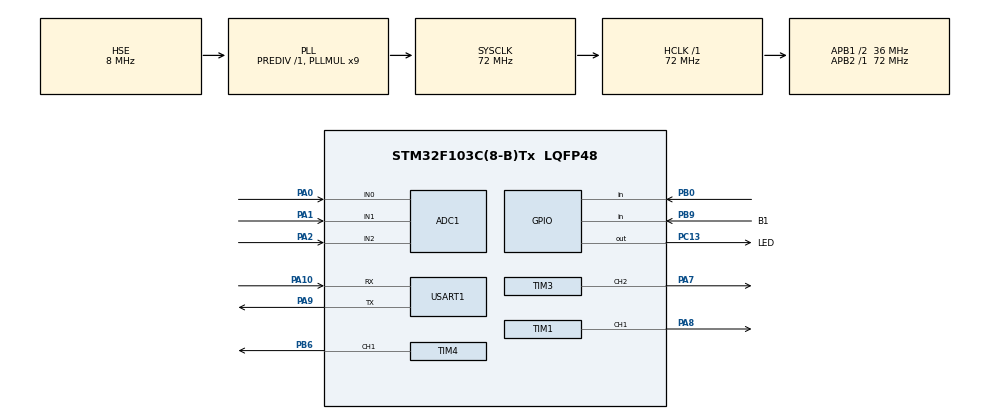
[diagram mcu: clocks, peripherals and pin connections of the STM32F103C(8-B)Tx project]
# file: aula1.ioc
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ADC1.Channel-1\#ChannelRegularConversion=ADC_CHANNEL_0
ADC1.Channel-2\#ChannelRegularConversion=ADC_CHANNEL_1
ADC1.Channel-3\#ChannelRegularConversion=ADC_CHANNEL_2
ADC1.ContinuousConvMode=ENABLE
ADC1.NbrOfConversion=3
ADC1.NbrOfConversionFlag=1
ADC1.Rank-1\#ChannelRegularConversion=1
ADC1.Rank-2\#ChannelRegularConversion=2
ADC1.Rank-3\#ChannelRegularConversion=3
ADC1.SamplingTime-1\#ChannelRegularConversion=ADC_SAMPLETIME_28CYCLES_5
ADC1.SamplingTime-2\#ChannelRegularConversion=ADC_SAMPLETIME_28CYCLES_5
ADC1.SamplingTime-3\#ChannelRegularConversion=ADC_SAMPLETIME_28CYCLES_5
ADC1.master=1
Dma.ADC1.0.Direction=DMA_PERIPH_TO_MEMORY
Dma.ADC1.0.Instance=DMA1_Channel1
Dma.ADC1.0.MemDataAlignment=DMA_MDATAALIGN_WORD
Dma.ADC1.0.MemInc=DMA_MINC_ENABLE
Dma.ADC1.0.Mode=DMA_CIRCULAR
Dma.ADC1.0.PeriphDataAlignment=DMA_PDATAALIGN_WORD
Dma.ADC1.0.PeriphInc=DMA_PINC_DISABLE
Dma.ADC1.0.Priority=DMA_PRIORITY_LOW
Dma.Request0=ADC1
Mcu.Family=STM32F1
Mcu.Name=STM32F103C(8-B)Tx
Mcu.Package=LQFP48
NVIC.DMA1_Channel1_IRQn=true\:0\:0\:false\:false\:true\:false\:true\:true
NVIC.PriorityGroup=NVIC_PRIORITYGROUP_4
NVIC.USART1_IRQn=true\:0\:0\:false\:false\:true\:true\:true\:true
PA0-WKUP.Signal=ADCx_IN0
PA1.Signal=ADCx_IN1
PA10.Mode=Asynchronous
PA10.Signal=USART1_RX
PA13.Mode=Serial_Wire
PA13.Signal=SYS_JTMS-SWDIO
PA14.Mode=Serial_Wire
PA14.Signal=SYS_JTCK-SWCLK
PA2.Signal=ADCx_IN2
PA7.Signal=S_TIM3_CH2
PA8.Signal=S_TIM1_CH1
PA9.Mode=Asynchronous
PA9.Signal=USART1_TX
PB0.Signal=GPIO_Input
PB6.Signal=S_TIM4_CH1
PB9.GPIO_Label=B1
PB9.GPIO_PuPd=GPIO_PULLDOWN
PB9.Signal=GPIO_Input
PC13-TAMPER-RTC.GPIO_Label=LED
PC13-TAMPER-RTC.GPIO_Speed=GPIO_SPEED_FREQ_HIGH
PC13-TAMPER-RTC.Signal=GPIO_Output
PC14-OSC32_IN.Mode=LSE-External-Oscillator
PC14-OSC32_IN.Signal=RCC_OSC32_IN
PC15-OSC32_OUT.Mode=LSE-External-Oscillator
PC15-OSC32_OUT.Signal=RCC_OSC32_OUT
PD0-OSC_IN.Mode=HSE-External-Oscillator
PD0-OSC_IN.Signal=RCC_OSC_IN
PD1-OSC_OUT.Mode=HSE-External-Oscillator
PD1-OSC_OUT.Signal=RCC_OSC_OUT
ProjectManager.HeapSize=0x200
ProjectManager.StackSize=0x400
ProjectManager.TargetToolchain=STM32CubeIDE
RCC.ADCPresc=RCC_ADCPCLK2_DIV6
RCC.AHBFreq_Value=72000000
RCC.APB1CLKDivider=RCC_HCLK_DIV2
RCC.APB1Freq_Value=36000000
RCC.APB1TimFreq_Value=72000000
RCC.APB2Freq_Value=72000000
RCC.APB2TimFreq_Value=72000000
RCC.HCLKFreq_Value=72000000
RCC.PLLMUL=RCC_PLL_MUL9
RCC.PLLSourceVirtual=RCC_PLLSOURCE_HSE
RCC.SYSCLKFreq_VALUE=72000000
RCC.SYSCLKSource=RCC_SYSCLKSOURCE_PLLCLK
RCC.USBFreq_Value=72000000
SH.ADCx_IN0.0=ADC1_IN0,IN0
SH.ADCx_IN1.0=ADC1_IN1,IN1
SH.ADCx_IN2.0=ADC1_IN2,IN2
SH.S_TIM1_CH1.0=TIM1_CH1,PWM Generation1 CH1
SH.S_TIM3_CH2.0=TIM3_CH2,PWM Generation2 CH2
SH.S_TIM4_CH1.0=TIM4_CH1,PWM Generation1 CH1
TIM1.Channel-PWM\ Generation1\ CH1=TIM_CHANNEL_1
TIM1.Period=19999
TIM1.Prescaler=71
TIM1.Pulse-PWM\ Generation1\ CH1=1500
TIM3.Channel-PWM\ Generation2\ CH2=TIM_CHANNEL_2
TIM3.Period=3599
TIM3.Prescaler=0
TIM3.Pulse-PWM\ Generation2\ CH2=0
TIM4.Channel-PWM\ Generation1\ CH1=TIM_CHANNEL_1
USART1.VirtualMode=VM_ASYNC
board=custom

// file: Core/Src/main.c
/* USER CODE BEGIN Header */
/**
  ******************************************************************************
  * @file           : main.c
  * @brief          : Main program body
  ******************************************************************************
  * @attention
  *
  * Copyright (c) 2026 STMicroelectronics.
  * All rights reserved.
  *
  * This software is licensed under terms that can be found in the LICENSE file
  * in the root directory of this software component.
  * If no LICENSE file comes with this software, it is provided AS-IS.
  *
  ******************************************************************************
  */
/* USER CODE END Header */
#include "main.h"
#include "stdio.h"

/* USER CODE BEGIN PD */
static GPIO_PinState sensor_ir_estado;
static GPIO_PinState sensor_ir_candidato;
static uint32_t sensor_ir_mudanca_ms;
static uint8_t sensor_ir_inicializado;
/* USER CODE END PD */

ADC_HandleTypeDef hadc1;
DMA_HandleTypeDef hdma_adc1;

TIM_HandleTypeDef htim1;
TIM_HandleTypeDef htim3;
TIM_HandleTypeDef htim4;

UART_HandleTypeDef huart1;

/* USER CODE BEGIN PV */
int contador;
uint32_t ADT[3];
uint8_t rx_buff[4];

#define TCRT5000_DO_GPIO_Port GPIOB
#define TCRT5000_DO_Pin GPIO_PIN_0
#define TCRT5000_NIVEL_DETECCAO GPIO_PIN_RESET
#define TCRT5000_DEBOUNCE_MS 20U
/* USER CODE END PV */

void SystemClock_Config(void);
static void MX_GPIO_Init(void);
static void MX_DMA_Init(void);
static void MX_TIM1_Init(void);
static void MX_USART1_UART_Init(void);
static void MX_ADC1_Init(void);
static void MX_TIM3_Init(void);
static void MX_TIM4_Init(void);

/* USER CODE BEGIN 0 */
void SensorIR_Atualizar(void)
{
    GPIO_PinState leitura = HAL_GPIO_ReadPin(TCRT5000_DO_GPIO_Port,
                                             TCRT5000_DO_Pin);
    uint32_t agora = HAL_GetTick();

    if (!sensor_ir_inicializado)
    {
        sensor_ir_estado = leitura;
        sensor_ir_candidato = leitura;
        sensor_ir_mudanca_ms = agora;
        sensor_ir_inicializado = 1;
        return;
    }

    if (leitura != sensor_ir_candidato)
    {
        sensor_ir_candidato = leitura;
        sensor_ir_mudanca_ms = agora;
    }

    if (sensor_ir_candidato != sensor_ir_estado &&
        (uint32_t)(agora - sensor_ir_mudanca_ms) >= TCRT5000_DEBOUNCE_MS)
    {
        sensor_ir_estado = sensor_ir_candidato;

        if (sensor_ir_estado == TCRT5000_NIVEL_DETECCAO)
        {
            contador++;
            printf("Passagens: %d\r\n", contador);
        }
    }
}

void AguardarComSensor(uint32_t tempo_ms)
{
    uint32_t inicio = HAL_GetTick();

    while ((uint32_t)(HAL_GetTick() - inicio) < tempo_ms)
    {
        SensorIR_Atualizar();
        HAL_Delay(1);
    }
}

void Motor_SetSpeed(uint8_t velocidade)
{
    if (velocidade > 100)
        velocidade = 100;

    uint32_t periodo =
        __HAL_TIM_GET_AUTORELOAD(&htim3) + 1;

    uint32_t pwm =
        (velocidade * periodo) / 100;

    __HAL_TIM_SET_COMPARE(
        &htim3,
        TIM_CHANNEL_2,
        pwm
    );
}

void Servo_SetAngle(uint16_t valor)
{
    if (valor > 999)
        valor = 999;

    // Converte a escala antiga de 2 us para a nova de 1 us
    uint32_t pulso = (uint32_t)valor * 2;

    __HAL_TIM_SET_COMPARE(&htim1, TIM_CHANNEL_1, pulso);
}

#ifdef __GNUC__
  /* With GCC/RAISONANCE, small printf (option LD Linker->Libraries->Small printf
     set to 'Yes') calls __io_putchar() */
  #define PUTCHAR_PROTOTYPE int __io_putchar(int ch)
#else
  #define PUTCHAR_PROTOTYPE int fputc(int ch, FILE *f)
#endif /* __GNUC__ */

/**
  * @brief  Retargets the C library printf function to the USART.
  * @param  None
  * @retval None
  */
PUTCHAR_PROTOTYPE
{
    /* Place your implementation of fputc here */
    /* e.g. write a character to the USART */
    HAL_UART_Transmit(&huart1, (uint8_t *)&ch, 1, 100);

    return ch;
}
void HAL_UART_RxCpltCallback(UART_HandleTypeDef *huart)
{
    __NOP();
    HAL_UART_Receive_IT(&huart1, rx_buff, 4);
}

/* USER CODE END 0 */

int main(void)
{

  /* MCU Configuration--------------------------------------------------------*/

  /* Reset of all peripherals, Initializes the Flash interface and the Systick. */
  HAL_Init();

  /* Configure the system clock */
  SystemClock_Config();

  /* Initialize all configured peripherals */
  MX_GPIO_Init();
  MX_DMA_Init();
  MX_TIM1_Init();
  MX_USART1_UART_Init();
  MX_ADC1_Init();
  MX_TIM3_Init();
  MX_TIM4_Init();
  /* USER CODE BEGIN 2 */
  uint8_t servo_aberto = 0;
  uint32_t ultima_passagem_ms = 0;

  __HAL_TIM_SET_COMPARE(&htim1, TIM_CHANNEL_1, 0);
  if (HAL_TIM_PWM_Start(&htim1, TIM_CHANNEL_1) != HAL_OK)
      Error_Handler();

  if (HAL_TIM_PWM_Start(&htim3, TIM_CHANNEL_2) != HAL_OK)
      Error_Handler();

  if (HAL_TIM_Base_Start_IT(&htim1) != HAL_OK) Error_Handler();
  if (HAL_ADC_Start_DMA(&hadc1, (uint32_t*)ADT, 3) != HAL_OK)
    Error_Handler();

  HAL_UART_Receive_IT(&huart1, rx_buff, 4);

  Servo_SetAngle(800);
  SensorIR_Atualizar();

  Motor_SetSpeed(100);
  uint32_t inicio_motor_ms = HAL_GetTick();
  uint8_t motor_em_partida = 1;
  /* USER CODE END 2 */

  /* Infinite loop */
  /* USER CODE BEGIN WHILE */
  while (1)
  {

		  if (motor_em_partida && (HAL_GetTick() - inicio_motor_ms) >= 100U)
		  {
			  Motor_SetSpeed(40);
			  motor_em_partida = 0;
		  }

	  	int contador_anterior = contador;
	    SensorIR_Atualizar();

	    if (contador != contador_anterior)
	    {
	        Servo_SetAngle(300);
	        ultima_passagem_ms = HAL_GetTick();
	        servo_aberto = 1;
	    }

	    if (servo_aberto && (HAL_GetTick() - ultima_passagem_ms) >= 2000U)
	    {
	        Servo_SetAngle(800);
	        servo_aberto = 0;
	    }

	    HAL_GPIO_WritePin(LED_GPIO_Port, LED_Pin,
	                      HAL_GPIO_ReadPin(B1_GPIO_Port, B1_Pin));

	    HAL_Delay(1);

    /* USER CODE END WHILE */

  }
}

void SystemClock_Config(void)
{
  RCC_OscInitTypeDef RCC_OscInitStruct = {0};
  RCC_ClkInitTypeDef RCC_ClkInitStruct = {0};
  RCC_PeriphCLKInitTypeDef PeriphClkInit = {0};

  /** Initializes the RCC Oscillators according to the specified parameters
  * in the RCC_OscInitTypeDef structure.
  */
  RCC_OscInitStruct.OscillatorType = RCC_OSCILLATORTYPE_HSE;
  RCC_OscInitStruct.HSEState = RCC_HSE_ON;
  RCC_OscInitStruct.HSEPredivValue = RCC_HSE_PREDIV_DIV1;
  RCC_OscInitStruct.HSIState = RCC_HSI_ON;
  RCC_OscInitStruct.PLL.PLLState = RCC_PLL_ON;
  RCC_OscInitStruct.PLL.PLLSource = RCC_PLLSOURCE_HSE;
  RCC_OscInitStruct.PLL.PLLMUL = RCC_PLL_MUL9;
  if (HAL_RCC_OscConfig(&RCC_OscInitStruct) != HAL_OK)
  {
    Error_Handler();
  }

  /** Initializes the CPU, AHB and APB buses clocks
  */
  RCC_ClkInitStruct.ClockType = RCC_CLOCKTYPE_HCLK|RCC_CLOCKTYPE_SYSCLK
                              |RCC_CLOCKTYPE_PCLK1|RCC_CLOCKTYPE_PCLK2;
  RCC_ClkInitStruct.SYSCLKSource = RCC_SYSCLKSOURCE_PLLCLK;
  RCC_ClkInitStruct.AHBCLKDivider = RCC_SYSCLK_DIV1;
  RCC_ClkInitStruct.APB1CLKDivider = RCC_HCLK_DIV2;
  RCC_ClkInitStruct.APB2CLKDivider = RCC_HCLK_DIV1;

  if (HAL_RCC_ClockConfig(&RCC_ClkInitStruct, FLASH_LATENCY_2) != HAL_OK)
  {
    Error_Handler();
  }
  PeriphClkInit.PeriphClockSelection = RCC_PERIPHCLK_ADC;
  PeriphClkInit.AdcClockSelection = RCC_ADCPCLK2_DIV6;
  if (HAL_RCCEx_PeriphCLKConfig(&PeriphClkInit) != HAL_OK)
  {
    Error_Handler();
  }
}

static void MX_ADC1_Init(void)
{

  ADC_ChannelConfTypeDef sConfig = {0};

  /** Common config
  */
  hadc1.Instance = ADC1;
  hadc1.Init.ScanConvMode = ADC_SCAN_ENABLE;
  hadc1.Init.ContinuousConvMode = ENABLE;
  hadc1.Init.DiscontinuousConvMode = DISABLE;
  hadc1.Init.ExternalTrigConv = ADC_SOFTWARE_START;
  hadc1.Init.DataAlign = ADC_DATAALIGN_RIGHT;
  hadc1.Init.NbrOfConversion = 3;
  if (HAL_ADC_Init(&hadc1) != HAL_OK)
  {
    Error_Handler();
  }

  /** Configure Regular Channel
  */
  sConfig.Channel = ADC_CHANNEL_0;
  sConfig.Rank = ADC_REGULAR_RANK_1;
  sConfig.SamplingTime = ADC_SAMPLETIME_28CYCLES_5;
  if (HAL_ADC_ConfigChannel(&hadc1, &sConfig) != HAL_OK)
  {
    Error_Handler();
  }

  /** Configure Regular Channel
  */
  sConfig.Channel = ADC_CHANNEL_1;
  sConfig.Rank = ADC_REGULAR_RANK_2;
  if (HAL_ADC_ConfigChannel(&hadc1, &sConfig) != HAL_OK)
  {
    Error_Handler();
  }

  /** Configure Regular Channel
  */
  sConfig.Channel = ADC_CHANNEL_2;
  sConfig.Rank = ADC_REGULAR_RANK_3;
  if (HAL_ADC_ConfigChannel(&hadc1, &sConfig) != HAL_OK)
  {
    Error_Handler();
  }

}

static void MX_TIM1_Init(void)
{

  TIM_MasterConfigTypeDef sMasterConfig = {0};
  TIM_OC_InitTypeDef sConfigOC = {0};
  TIM_BreakDeadTimeConfigTypeDef sBreakDeadTimeConfig = {0};

  htim1.Instance = TIM1;
  htim1.Init.Prescaler = 71;
  htim1.Init.CounterMode = TIM_COUNTERMODE_UP;
  htim1.Init.Period = 19999;
  htim1.Init.ClockDivision = TIM_CLOCKDIVISION_DIV1;
  htim1.Init.RepetitionCounter = 0;
  htim1.Init.AutoReloadPreload = TIM_AUTORELOAD_PRELOAD_DISABLE;
  if (HAL_TIM_PWM_Init(&htim1) != HAL_OK)
  {
    Error_Handler();
  }
  sMasterConfig.MasterOutputTrigger = TIM_TRGO_RESET;
  sMasterConfig.MasterSlaveMode = TIM_MASTERSLAVEMODE_DISABLE;
  if (HAL_TIMEx_MasterConfigSynchronization(&htim1, &sMasterConfig) != HAL_OK)
  {
    Error_Handler();
  }
  sConfigOC.OCMode = TIM_OCMODE_PWM1;
  sConfigOC.Pulse = 1500;
  sConfigOC.OCPolarity = TIM_OCPOLARITY_HIGH;
  sConfigOC.OCNPolarity = TIM_OCNPOLARITY_HIGH;
  sConfigOC.OCFastMode = TIM_OCFAST_DISABLE;
  sConfigOC.OCIdleState = TIM_OCIDLESTATE_RESET;
  sConfigOC.OCNIdleState = TIM_OCNIDLESTATE_RESET;
  if (HAL_TIM_PWM_ConfigChannel(&htim1, &sConfigOC, TIM_CHANNEL_1) != HAL_OK)
  {
    Error_Handler();
  }
  sBreakDeadTimeConfig.OffStateRunMode = TIM_OSSR_DISABLE;
  sBreakDeadTimeConfig.OffStateIDLEMode = TIM_OSSI_DISABLE;
  sBreakDeadTimeConfig.LockLevel = TIM_LOCKLEVEL_OFF;
  sBreakDeadTimeConfig.DeadTime = 0;
  sBreakDeadTimeConfig.BreakState = TIM_BREAK_DISABLE;
  sBreakDeadTimeConfig.BreakPolarity = TIM_BREAKPOLARITY_HIGH;
  sBreakDeadTimeConfig.AutomaticOutput = TIM_AUTOMATICOUTPUT_DISABLE;
  if (HAL_TIMEx_ConfigBreakDeadTime(&htim1, &sBreakDeadTimeConfig) != HAL_OK)
  {
    Error_Handler();
  }
  HAL_TIM_MspPostInit(&htim1);

}

static void MX_TIM3_Init(void)
{

  TIM_MasterConfigTypeDef sMasterConfig = {0};
  TIM_OC_InitTypeDef sConfigOC = {0};

  htim3.Instance = TIM3;
  htim3.Init.Prescaler = 0;
  htim3.Init.CounterMode = TIM_COUNTERMODE_UP;
  htim3.Init.Period = 3599;
  htim3.Init.ClockDivision = TIM_CLOCKDIVISION_DIV1;
  htim3.Init.AutoReloadPreload = TIM_AUTORELOAD_PRELOAD_DISABLE;
  if (HAL_TIM_PWM_Init(&htim3) != HAL_OK)
  {
    Error_Handler();
  }
  sMasterConfig.MasterOutputTrigger = TIM_TRGO_RESET;
  sMasterConfig.MasterSlaveMode = TIM_MASTERSLAVEMODE_DISABLE;
  if (HAL_TIMEx_MasterConfigSynchronization(&htim3, &sMasterConfig) != HAL_OK)
  {
    Error_Handler();
  }
  sConfigOC.OCMode = TIM_OCMODE_PWM1;
  sConfigOC.Pulse = 0;
  sConfigOC.OCPolarity = TIM_OCPOLARITY_HIGH;
  sConfigOC.OCFastMode = TIM_OCFAST_DISABLE;
  if (HAL_TIM_PWM_ConfigChannel(&htim3, &sConfigOC, TIM_CHANNEL_2) != HAL_OK)
  {
    Error_Handler();
  }
  HAL_TIM_MspPostInit(&htim3);

}

static void MX_TIM4_Init(void)
{

  TIM_MasterConfigTypeDef sMasterConfig = {0};
  TIM_OC_InitTypeDef sConfigOC = {0};

  htim4.Instance = TIM4;
  htim4.Init.Prescaler = 0;
  htim4.Init.CounterMode = TIM_COUNTERMODE_UP;
  htim4.Init.Period = 65535;
  htim4.Init.ClockDivision = TIM_CLOCKDIVISION_DIV1;
  htim4.Init.AutoReloadPreload = TIM_AUTORELOAD_PRELOAD_DISABLE;
  if (HAL_TIM_PWM_Init(&htim4) != HAL_OK)
  {
    Error_Handler();
  }
  sMasterConfig.MasterOutputTrigger = TIM_TRGO_RESET;
  sMasterConfig.MasterSlaveMode = TIM_MASTERSLAVEMODE_DISABLE;
  if (HAL_TIMEx_MasterConfigSynchronization(&htim4, &sMasterConfig) != HAL_OK)
  {
    Error_Handler();
  }
  sConfigOC.OCMode = TIM_OCMODE_PWM1;
  sConfigOC.Pulse = 0;
  sConfigOC.OCPolarity = TIM_OCPOLARITY_HIGH;
  sConfigOC.OCFastMode = TIM_OCFAST_DISABLE;
  if (HAL_TIM_PWM_ConfigChannel(&htim4, &sConfigOC, TIM_CHANNEL_1) != HAL_OK)
  {
    Error_Handler();
  }
  HAL_TIM_MspPostInit(&htim4);

}

static void MX_USART1_UART_Init(void)
{

  huart1.Instance = USART1;
  huart1.Init.BaudRate = 115200;
  huart1.Init.WordLength = UART_WORDLENGTH_8B;
  huart1.Init.StopBits = UART_STOPBITS_1;
  huart1.Init.Parity = UART_PARITY_NONE;
  huart1.Init.Mode = UART_MODE_TX_RX;
  huart1.Init.HwFlowCtl = UART_HWCONTROL_NONE;
  huart1.Init.OverSampling = UART_OVERSAMPLING_16;
  if (HAL_UART_Init(&huart1) != HAL_OK)
  {
    Error_Handler();
  }

}

static void MX_DMA_Init(void)
{

  /* DMA controller clock enable */
  __HAL_RCC_DMA1_CLK_ENABLE();

  /* DMA interrupt init */
  /* DMA1_Channel1_IRQn interrupt configuration */
  HAL_NVIC_SetPriority(DMA1_Channel1_IRQn, 0, 0);
  HAL_NVIC_EnableIRQ(DMA1_Channel1_IRQn);

}

static void MX_GPIO_Init(void)
{
  GPIO_InitTypeDef GPIO_InitStruct = {0};

  /* GPIO Ports Clock Enable */
  __HAL_RCC_GPIOC_CLK_ENABLE();
  __HAL_RCC_GPIOD_CLK_ENABLE();
  __HAL_RCC_GPIOA_CLK_ENABLE();
  __HAL_RCC_GPIOB_CLK_ENABLE();

  /*Configure GPIO pin Output Level */
  HAL_GPIO_WritePin(LED_GPIO_Port, LED_Pin, GPIO_PIN_RESET);

  /*Configure GPIO pin : LED_Pin */
  GPIO_InitStruct.Pin = LED_Pin;
  GPIO_InitStruct.Mode = GPIO_MODE_OUTPUT_PP;
  GPIO_InitStruct.Pull = GPIO_NOPULL;
  GPIO_InitStruct.Speed = GPIO_SPEED_FREQ_HIGH;
  HAL_GPIO_Init(LED_GPIO_Port, &GPIO_InitStruct);

  /*Configure GPIO pin : PB0 */
  GPIO_InitStruct.Pin = GPIO_PIN_0;
  GPIO_InitStruct.Mode = GPIO_MODE_INPUT;
  GPIO_InitStruct.Pull = GPIO_NOPULL;
  HAL_GPIO_Init(GPIOB, &GPIO_InitStruct);

  /*Configure GPIO pin : B1_Pin */
  GPIO_InitStruct.Pin = B1_Pin;
  GPIO_InitStruct.Mode = GPIO_MODE_INPUT;
  GPIO_InitStruct.Pull = GPIO_PULLDOWN;
  HAL_GPIO_Init(B1_GPIO_Port, &GPIO_InitStruct);

}

void Error_Handler(void)
{
  __disable_irq();
  while (1)
  {
  }
}
